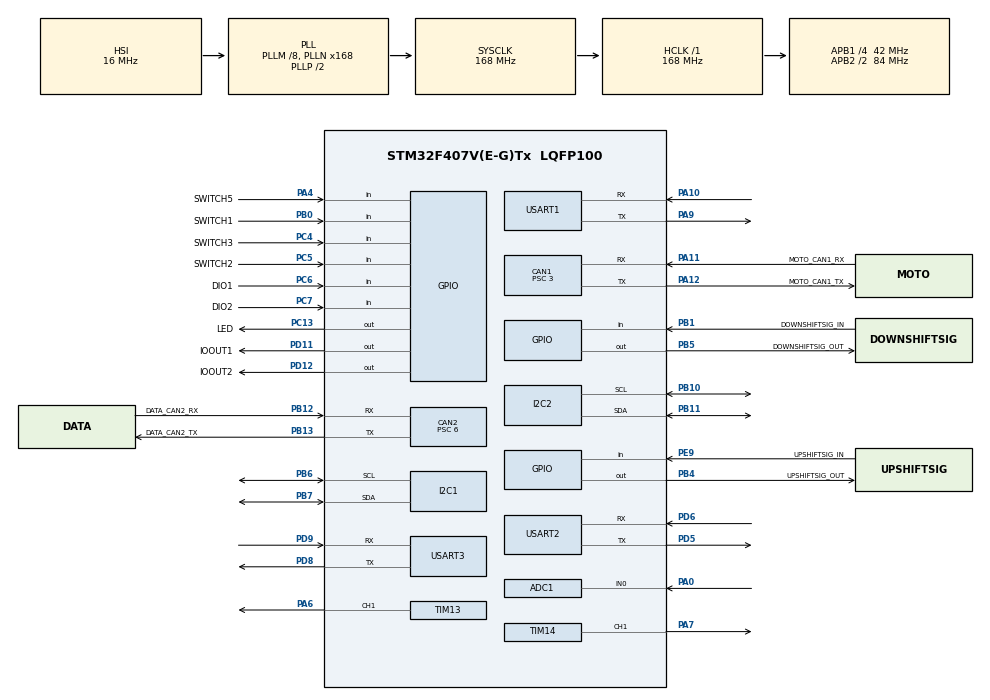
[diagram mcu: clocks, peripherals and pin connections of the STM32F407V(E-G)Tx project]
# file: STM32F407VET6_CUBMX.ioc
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ADC1.Channel-1\#ChannelRegularConversion=ADC_CHANNEL_0
ADC1.NbrOfConversionFlag=1
ADC1.Rank-1\#ChannelRegularConversion=1
ADC1.Resolution=ADC_RESOLUTION_10B
ADC1.SamplingTime-1\#ChannelRegularConversion=ADC_SAMPLETIME_3CYCLES
ADC1.master=1
CAN1.AWUM=ENABLE
CAN1.BS1=CAN_BS1_8TQ
CAN1.BS2=CAN_BS2_5TQ
CAN1.CalculateBaudRate=1000000
CAN1.CalculateTimeBit=1000
CAN1.CalculateTimeQuantum=71.42857142857143
CAN1.NART=ENABLE
CAN1.Prescaler=3
CAN1.RFLM=ENABLE
CAN2.AWUM=ENABLE
CAN2.BS1=CAN_BS1_8TQ
CAN2.BS2=CAN_BS2_5TQ
CAN2.CalculateBaudRate=500000
CAN2.CalculateTimeBit=2000
CAN2.CalculateTimeQuantum=142.85714285714286
CAN2.Mode=CAN_MODE_NORMAL
CAN2.NART=ENABLE
CAN2.Prescaler=6
CAN2.RFLM=ENABLE
Dma.Request0=USART1_RX
Dma.Request1=USART3_RX
Dma.Request2=USART3_TX
Dma.Request3=USART1_TX
Dma.USART1_RX.0.Direction=DMA_PERIPH_TO_MEMORY
Dma.USART1_RX.0.FIFOMode=DMA_FIFOMODE_DISABLE
Dma.USART1_RX.0.Instance=DMA2_Stream2
Dma.USART1_RX.0.MemDataAlignment=DMA_MDATAALIGN_BYTE
Dma.USART1_RX.0.MemInc=DMA_MINC_ENABLE
Dma.USART1_RX.0.Mode=DMA_NORMAL
Dma.USART1_RX.0.PeriphDataAlignment=DMA_PDATAALIGN_BYTE
Dma.USART1_RX.0.PeriphInc=DMA_PINC_DISABLE
Dma.USART1_RX.0.Priority=DMA_PRIORITY_LOW
Dma.USART1_TX.3.Direction=DMA_MEMORY_TO_PERIPH
Dma.USART1_TX.3.FIFOMode=DMA_FIFOMODE_DISABLE
Dma.USART1_TX.3.Instance=DMA2_Stream7
Dma.USART1_TX.3.MemDataAlignment=DMA_MDATAALIGN_BYTE
Dma.USART1_TX.3.MemInc=DMA_MINC_ENABLE
Dma.USART1_TX.3.Mode=DMA_NORMAL
Dma.USART1_TX.3.PeriphDataAlignment=DMA_PDATAALIGN_BYTE
Dma.USART1_TX.3.PeriphInc=DMA_PINC_DISABLE
Dma.USART1_TX.3.Priority=DMA_PRIORITY_LOW
Dma.USART3_RX.1.Direction=DMA_PERIPH_TO_MEMORY
Dma.USART3_RX.1.FIFOMode=DMA_FIFOMODE_DISABLE
Dma.USART3_RX.1.Instance=DMA1_Stream1
Dma.USART3_RX.1.MemDataAlignment=DMA_MDATAALIGN_BYTE
Dma.USART3_RX.1.MemInc=DMA_MINC_ENABLE
Dma.USART3_RX.1.Mode=DMA_NORMAL
Dma.USART3_RX.1.PeriphDataAlignment=DMA_PDATAALIGN_BYTE
Dma.USART3_RX.1.PeriphInc=DMA_PINC_DISABLE
Dma.USART3_RX.1.Priority=DMA_PRIORITY_LOW
Dma.USART3_TX.2.Direction=DMA_MEMORY_TO_PERIPH
Dma.USART3_TX.2.FIFOMode=DMA_FIFOMODE_DISABLE
Dma.USART3_TX.2.Instance=DMA1_Stream3
Dma.USART3_TX.2.MemDataAlignment=DMA_MDATAALIGN_BYTE
Dma.USART3_TX.2.MemInc=DMA_MINC_ENABLE
Dma.USART3_TX.2.Mode=DMA_NORMAL
Dma.USART3_TX.2.PeriphDataAlignment=DMA_PDATAALIGN_BYTE
Dma.USART3_TX.2.PeriphInc=DMA_PINC_DISABLE
Dma.USART3_TX.2.Priority=DMA_PRIORITY_LOW
Mcu.Family=STM32F4
Mcu.Name=STM32F407V(E-G)Tx
Mcu.Package=LQFP100
NVIC.CAN1_RX0_IRQn=true\:0\:0\:false\:false\:true\:true\:true\:true
NVIC.CAN2_RX1_IRQn=true\:0\:0\:false\:false\:true\:true\:true\:true
NVIC.DMA1_Stream1_IRQn=true\:0\:0\:false\:false\:true\:false\:true\:true
NVIC.DMA1_Stream3_IRQn=true\:0\:0\:false\:false\:true\:false\:true\:true
NVIC.DMA2_Stream2_IRQn=true\:0\:0\:false\:false\:true\:false\:true\:true
NVIC.DMA2_Stream7_IRQn=true\:0\:0\:false\:false\:true\:false\:true\:true
NVIC.PriorityGroup=NVIC_PRIORITYGROUP_4
PA0-WKUP.Signal=ADCx_IN0
PA10.Mode=Asynchronous
PA10.Signal=USART1_RX
PA11.GPIO_Label=MOTO_CAN1_RX
PA11.GPIO_PuPd=GPIO_NOPULL
PA11.Mode=CAN_Activate
PA11.Signal=CAN1_RX
PA12.GPIO_Label=MOTO_CAN1_TX
PA12.Mode=CAN_Activate
PA12.Signal=CAN1_TX
PA13.Mode=Serial_Wire
PA13.Signal=SYS_JTMS-SWDIO
PA14.Mode=Serial_Wire
PA14.Signal=SYS_JTCK-SWCLK
PA4.GPIO_Label=SWITCH5
PA4.GPIO_PuPd=GPIO_PULLDOWN
PA4.Signal=GPIO_Input
PA6.Signal=S_TIM13_CH1
PA7.Signal=S_TIM14_CH1
PA9.Mode=Asynchronous
PA9.Signal=USART1_TX
PB0.GPIO_Label=SWITCH1
PB0.GPIO_PuPd=GPIO_PULLDOWN
PB0.Signal=GPIO_Input
PB1.GPIO_Label=DOWNSHIFTSIG_IN
PB1.GPIO_PuPd=GPIO_PULLDOWN
PB1.Signal=GPIO_Input
PB10.Mode=I2C
PB10.Signal=I2C2_SCL
PB11.Mode=I2C
PB11.Signal=I2C2_SDA
PB12.GPIO_Label=DATA_CAN2_RX
PB12.GPIO_PuPd=GPIO_PULLUP
PB12.Mode=CAN_Activate
PB12.Signal=CAN2_RX
PB13.GPIO_Label=DATA_CAN2_TX
PB13.GPIO_PuPd=GPIO_PULLUP
PB13.Mode=CAN_Activate
PB13.Signal=CAN2_TX
PB4.GPIO_Label=UPSHIFTSIG_OUT
PB4.GPIO_PuPd=GPIO_PULLDOWN
PB4.Signal=GPIO_Output
PB5.GPIO_Label=DOWNSHIFTSIG_OUT
PB5.GPIO_PuPd=GPIO_PULLDOWN
PB5.Signal=GPIO_Output
PB6.Mode=I2C
PB6.Signal=I2C1_SCL
PB7.Mode=I2C
PB7.Signal=I2C1_SDA
PC13-ANTI_TAMP.GPIO_Label=LED
PC13-ANTI_TAMP.GPIO_PuPd=GPIO_PULLUP
PC13-ANTI_TAMP.Signal=GPIO_Output
PC14-OSC32_IN.Mode=LSE-External-Oscillator
PC14-OSC32_IN.Signal=RCC_OSC32_IN
PC15-OSC32_OUT.Mode=LSE-External-Oscillator
PC15-OSC32_OUT.Signal=RCC_OSC32_OUT
PC4.GPIO_Label=SWITCH3
PC4.GPIO_PuPd=GPIO_PULLDOWN
PC4.Signal=GPIO_Input
PC5.GPIO_Label=SWITCH2
PC5.GPIO_PuPd=GPIO_PULLDOWN
PC5.Signal=GPIO_Input
PC6.GPIO_Label=DIO1
PC6.Signal=GPIO_Input
PC7.GPIO_Label=DIO2
PC7.Signal=GPIO_Input
PD11.GPIO_Label=IOOUT1
PD11.GPIO_PuPd=GPIO_PULLDOWN
PD11.Signal=GPIO_Output
PD12.GPIO_Label=IOOUT2
PD12.GPIO_PuPd=GPIO_PULLDOWN
PD12.Signal=GPIO_Output
PD5.Mode=Asynchronous
PD5.Signal=USART2_TX
PD6.Mode=Asynchronous
PD6.Signal=USART2_RX
PD8.Mode=Asynchronous
PD8.Signal=USART3_TX
PD9.Mode=Asynchronous
PD9.Signal=USART3_RX
PE9.GPIO_Label=UPSHIFTSIG_IN
PE9.GPIO_PuPd=GPIO_PULLDOWN
PE9.Signal=GPIO_Input
PH0-OSC_IN.Mode=HSE-External-Oscillator
PH0-OSC_IN.Signal=RCC_OSC_IN
PH1-OSC_OUT.Mode=HSE-External-Oscillator
PH1-OSC_OUT.Signal=RCC_OSC_OUT
ProjectManager.HeapSize=0x200
ProjectManager.StackSize=0x400
ProjectManager.TargetToolchain=MDK-ARM V5.32
RCC.48MHZClocksFreq_Value=84000000
RCC.AHBFreq_Value=168000000
RCC.APB1CLKDivider=RCC_HCLK_DIV4
RCC.APB1Freq_Value=42000000
RCC.APB1TimFreq_Value=84000000
RCC.APB2CLKDivider=RCC_HCLK_DIV2
RCC.APB2Freq_Value=84000000
RCC.APB2TimFreq_Value=168000000
RCC.CortexFreq_Value=168000000
RCC.HCLKFreq_Value=168000000
RCC.HSE_VALUE=25000000
RCC.HSI_VALUE=16000000
RCC.PLLM=8
RCC.PLLN=168
RCC.SYSCLKFreq_VALUE=168000000
RCC.SYSCLKSource=RCC_SYSCLKSOURCE_PLLCLK
RCC.VCOOutputFreq_Value=336000000
SH.ADCx_IN0.0=ADC1_IN0,IN0
SH.S_TIM13_CH1.0=TIM13_CH1,PWM Generation1 CH1
SH.S_TIM14_CH1.0=TIM14_CH1,PWM Generation1 CH1
TIM13.Channel=TIM_CHANNEL_1
TIM14.Channel=TIM_CHANNEL_1
USART1.VirtualMode=VM_ASYNC
USART2.VirtualMode=VM_ASYNC
USART3.VirtualMode=VM_ASYNC
VP_TIM13_VS_ClockSourceINT.Mode=Enable_Timer
VP_TIM14_VS_ClockSourceINT.Mode=Enable_Timer
VP_TIM1_VS_ClockSourceINT.Mode=Internal
VP_TIM1_VS_ClockSourceITR.Mode=TriggerSource_ITR0
VP_TIM1_VS_ControllerModeTrigger.Mode=Trigger Mode
VP_TIM2_VS_ClockSourceINT.Mode=Internal
board=custom

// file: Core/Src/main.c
/* USER CODE BEGIN Header */
/**
  ******************************************************************************
  * @file           : main.c
  * @brief          : Main program body
  ******************************************************************************
  * @attention
  *
  * Copyright (c) 2025 STMicroelectronics.
  * All rights reserved.
  *
  * This software is licensed under terms that can be found in the LICENSE file
  * in the root directory of this software component.
  * If no LICENSE file comes with this software, it is provided AS-IS.
  *
  ******************************************************************************
  */
/* USER CODE END Header */
#include "main.h"
#include "adc.h"
#include "can.h"
#include "dma.h"
#include "i2c.h"
#include "tim.h"
#include "usart.h"
#include "gpio.h"

/* USER CODE BEGIN Includes */
#include "headfile.h"    //头文
#include "SA_E_shift.h"    //头文

/* USER CODE END Includes */

void SystemClock_Config(void);

/* USER CODE BEGIN 0 */

uint8_t key_num;

/* USER CODE END 0 */

int main(void)
{

  /* MCU Configuration--------------------------------------------------------*/

  /* Reset of all peripherals, Initializes the Flash interface and the Systick. */
  HAL_Init();

  /* Configure the system clock */
  SystemClock_Config();

  /* USER CODE BEGIN SysInit */
  HAL_Delay(2000);
  /* USER CODE END SysInit */

  /* Initialize all configured peripherals */
  MX_GPIO_Init();
  MX_DMA_Init();
  MX_TIM1_Init();
  MX_ADC1_Init();
  MX_CAN1_Init();
  MX_CAN2_Init();
  MX_I2C1_Init();
  MX_I2C2_Init();
  MX_TIM13_Init();
  MX_TIM14_Init();
  MX_USART1_UART_Init();
  MX_USART2_UART_Init();
  MX_USART3_UART_Init();
  MX_TIM2_Init();
  /* USER CODE BEGIN 2 */
  Motor_Init();
  /* USER CODE END 2 */
  /* Infinite loop */
  /* USER CODE BEGIN WHILE */
  while (1)
  {
      Radio_Data_Send(&Clutch_Cyber,&Shift_Cyber,&ECUDATA,0);//电台发送数据
//      CANtest(&Clutch_Cyber,&Shift_Cyber);
      Set_Cyber_Pos(&Clutch_Cyber,0) ;
      Set_Cyber_Pos(&Shift_Cyber,0) ;
      key_num=get_key_num();
      if (key_num==4) {Stop_Cyber(&Clutch_Cyber, 1);Stop_Cyber(&Shift_Cyber, 1);}
      if (key_num==3) {Start_Cyber(&Clutch_Cyber);Start_Cyber(&Shift_Cyber);}
      if (key_num==1) //upshiftsign
            {
                EShift_move(1,&ECUDATA);
            }
      if (key_num==2)
            {
                EShift_move(0,&ECUDATA);
            }

    HAL_GPIO_WritePin((GPIO_TypeDef *)LED_GPIO_Port, (uint16_t)LED_Pin, (GPIO_PinState)1);

    /* USER CODE END WHILE */

  }
}

void SystemClock_Config(void)
{
  RCC_OscInitTypeDef RCC_OscInitStruct = {0};
  RCC_ClkInitTypeDef RCC_ClkInitStruct = {0};

  /** Configure the main internal regulator output voltage
  */
  __HAL_RCC_PWR_CLK_ENABLE();
  __HAL_PWR_VOLTAGESCALING_CONFIG(PWR_REGULATOR_VOLTAGE_SCALE1);

  /** Initializes the RCC Oscillators according to the specified parameters
  * in the RCC_OscInitTypeDef structure.
  */
  RCC_OscInitStruct.OscillatorType = RCC_OSCILLATORTYPE_HSI;
  RCC_OscInitStruct.HSIState = RCC_HSI_ON;
  RCC_OscInitStruct.HSICalibrationValue = RCC_HSICALIBRATION_DEFAULT;
  RCC_OscInitStruct.PLL.PLLState = RCC_PLL_ON;
  RCC_OscInitStruct.PLL.PLLSource = RCC_PLLSOURCE_HSI;
  RCC_OscInitStruct.PLL.PLLM = 8;
  RCC_OscInitStruct.PLL.PLLN = 168;
  RCC_OscInitStruct.PLL.PLLP = RCC_PLLP_DIV2;
  RCC_OscInitStruct.PLL.PLLQ = 4;
  if (HAL_RCC_OscConfig(&RCC_OscInitStruct) != HAL_OK)
  {
    Error_Handler();
  }

  /** Initializes the CPU, AHB and APB buses clocks
  */
  RCC_ClkInitStruct.ClockType = RCC_CLOCKTYPE_HCLK|RCC_CLOCKTYPE_SYSCLK
                              |RCC_CLOCKTYPE_PCLK1|RCC_CLOCKTYPE_PCLK2;
  RCC_ClkInitStruct.SYSCLKSource = RCC_SYSCLKSOURCE_PLLCLK;
  RCC_ClkInitStruct.AHBCLKDivider = RCC_SYSCLK_DIV1;
  RCC_ClkInitStruct.APB1CLKDivider = RCC_HCLK_DIV4;
  RCC_ClkInitStruct.APB2CLKDivider = RCC_HCLK_DIV2;

  if (HAL_RCC_ClockConfig(&RCC_ClkInitStruct, FLASH_LATENCY_5) != HAL_OK)
  {
    Error_Handler();
  }
}

/* USER CODE BEGIN 4 */
//void HAL_TIM_PeriodElapsedCallback(TIM_HandleTypeDef *htim){
//    if(htim == &htim2)  //判断中断是否来自于定时器2
//   {
//   }
//}

//单片机测试代码
//    HAL_GPIO_WritePin((GPIO_TypeDef *)LED1_GPIO_Port, (uint16_t)LED1_Pin, (GPIO_PinState)0);
//    HAL_Delay(200);
//    HAL_GPIO_WritePin((GPIO_TypeDef *)LED1_GPIO_Port, (uint16_t)LED1_Pin, (GPIO_PinState)1);
//    HAL_Delay(200);
//    printf("samples: %d \n",a );
//    a++;
/* USER CODE END 4 */

void Error_Handler(void)
{
  __disable_irq();
  while (1)
  {
  }
}
